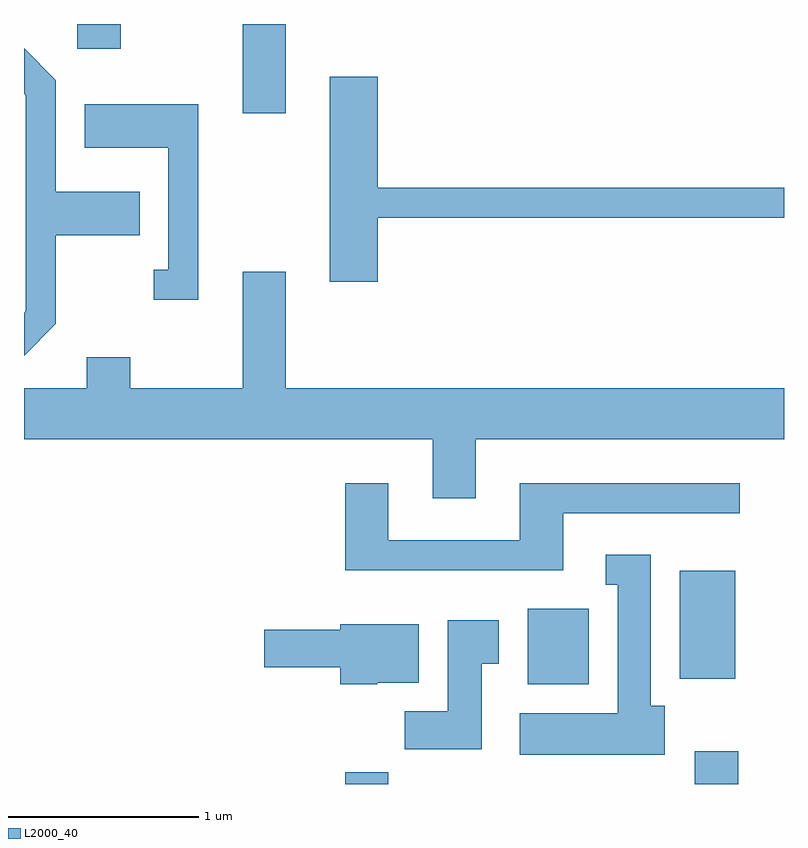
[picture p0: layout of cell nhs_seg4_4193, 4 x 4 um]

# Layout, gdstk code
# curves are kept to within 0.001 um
import gdstk
lib = gdstk.Library(unit=1e-6, precision=1e-09)
def R(c, l, rs):  # rectangles x0, y0, x1, y1
    for r in rs: c.add(gdstk.rectangle(r[:2], r[2:], *l))
def P(c, l, *ps):  # polygons
    for p in ps: c.add(gdstk.Polygon(p, *l))
L2000_40 = (2000, 40)

nhs_seg4_4193 = lib.new_cell('nhs_seg4_4193')
R(nhs_seg4_4193, L2000_40, [(309.301,1343.982,309.529,1344.044), (311.141,1343.982,311.369,1344.154), (310.261,1344.506,310.584,1344.904), (311.061,1344.536,311.354,1345.104), (308.761,1347.511,308.989,1347.982), (307.891,1347.851,308.119,1347.982)])
P(nhs_seg4_4193, L2000_40, [(307.779,1346.404),(307.779,1346.871),(308.219,1346.871),(308.219,1347.099),(307.779,1347.099),(307.779,1347.687),(307.611,1347.854),(307.611,1347.614),(307.621,1347.604),(307.621,1346.472),(307.611,1346.462),(307.611,1346.235)],
  [(309.474,1346.961),(311.611,1346.961),(311.611,1347.119),(309.474,1347.119),(309.474,1347.704),(309.221,1347.704),(309.221,1346.626),(309.474,1346.626)],
  [(308.529,1347.559),(307.931,1347.559),(307.931,1347.331),(308.371,1347.331),(308.371,1346.689),(308.293,1346.689),(308.293,1346.531),(308.529,1346.531)],
  [(309.989,1345.796),(311.611,1345.796),(311.611,1346.064),(308.989,1346.064),(308.989,1346.679),(308.761,1346.679),(308.761,1346.064),(308.169,1346.064),(308.169,1346.229),(307.941,1346.229),(307.941,1346.064),(307.611,1346.064),(307.611,1345.796),(309.761,1345.796),(309.761,1345.486),(309.989,1345.486)],
  [(310.449,1345.406),(311.378,1345.406),(311.378,1345.564),(310.221,1345.564),(310.221,1345.264),(309.529,1345.264),(309.529,1345.564),(309.301,1345.564),(309.301,1345.106),(310.449,1345.106)],
  [(310.984,1344.394),(310.909,1344.394),(310.909,1345.189),(310.673,1345.189),(310.673,1345.031),(310.736,1345.031),(310.736,1344.354),(310.221,1344.354),(310.221,1344.136),(310.984,1344.136)],
  [(310.019,1344.616),(310.109,1344.616),(310.109,1344.844),(309.841,1344.844),(309.841,1344.364),(309.616,1344.364),(309.616,1344.166),(310.019,1344.166)],
  [(309.47,1344.516),(309.689,1344.516),(309.689,1344.824),(309.276,1344.824),(309.276,1344.794),(308.876,1344.794),(308.876,1344.596),(309.276,1344.596),(309.276,1344.506),(309.47,1344.506)])

lib.write_gds('nhs_seg4_4193.gds')
